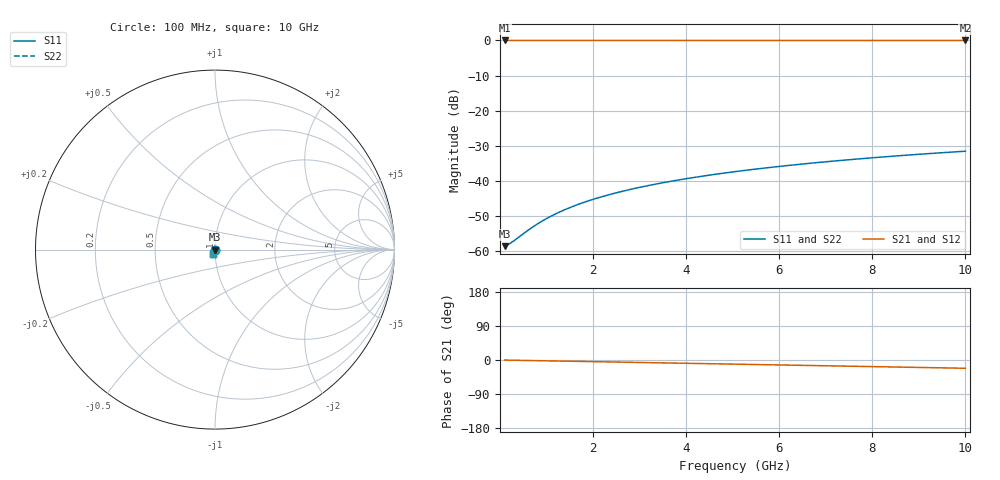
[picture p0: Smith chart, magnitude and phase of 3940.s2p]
# Hz S RI R 50.00
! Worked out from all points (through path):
!   100 points, 100 MHz to 10 GHz, reference 50 ohm
!   highest |S21| = -0.01 dB at 100 MHz (marker M1); lowest = 0.0 dB at 10 GHz (marker M2)
!   group delay of S21, straight-line fit = 6.06 ps
!   lowest |S11| = -58.6 dB at 100 MHz (marker M3), VSWR 1.00, Z = 50.1 - j0.0271 ohm
!   |S11| at or under -10 dB: start of sweep to end of sweep
!   |S22| runs from -58.6 to -31.5 dB; largest |S21 - S12| = 0
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1e8  0.00115 -0.000271  0.9988 -0.00378  0.9988 -0.00378  0.00115 -0.000271
2e8  0.00115 -0.000542  0.9988 -0.00756  0.9988 -0.00756  0.00115 -0.000542
3e8  0.00115 -0.000813  0.9988 -0.0113  0.9988 -0.0113  0.00115 -0.000813
6e8  0.00113 -0.00163  0.9986 -0.0227  0.9986 -0.0227  0.00113 -0.00163
7e8  0.00112 -0.0019  0.9985 -0.0265  0.9985 -0.0265  0.00112 -0.0019
8e8  0.0011 -0.00217  0.9983 -0.0302  0.9983 -0.0302  0.0011 -0.00217
1e9  0.00107 -0.00271  0.9981 -0.0378  0.9981 -0.0378  0.00107 -0.00271
1.2e9  0.00102 -0.00325  0.9977 -0.0454  0.9977 -0.0454  0.00102 -0.00325
1.4e9  0.000971 -0.00379  0.9974 -0.0529  0.9974 -0.0529  0.000971 -0.00379
1.6e9  0.00091 -0.00433  0.9969 -0.0605  0.9969 -0.0605  0.00091 -0.00433
1.8e9  0.000841 -0.00487  0.9964 -0.068  0.9964 -0.068  0.000841 -0.00487
2.1e9  0.000721 -0.00568  0.9956 -0.0794  0.9956 -0.0794  0.000721 -0.00568
2.5e9  0.000532 -0.00676  0.9942 -0.0945  0.9942 -0.0945  0.000532 -0.00676
2.9e9  0.00031 -0.00783  0.9927 -0.1095  0.9927 -0.1095  0.00031 -0.00783
3.4e9  -1.31e-05 -0.00917  0.9904 -0.1284  0.9904 -0.1284  -1.31e-05 -0.00917
4.2e9  -0.000637 -0.0113  0.986 -0.1584  0.986 -0.1584  -0.000637 -0.0113
5.1e9  -0.00149 -0.0136  0.9799 -0.192  0.9799 -0.192  -0.00149 -0.0136
5.9e9  -0.00239 -0.0156  0.9735 -0.2218  0.9735 -0.2218  -0.00239 -0.0156
6.7e9  -0.0034 -0.0176  0.9663 -0.2514  0.9663 -0.2514  -0.0034 -0.0176
7.5e9  -0.00454 -0.0195  0.9581 -0.2808  0.9581 -0.2808  -0.00454 -0.0195
8.4e9  -0.00595 -0.0216  0.9477 -0.3136  0.9477 -0.3136  -0.00595 -0.0216
1e10  -0.00881 -0.025  0.9266 -0.371  0.9266 -0.371  -0.00881 -0.025
